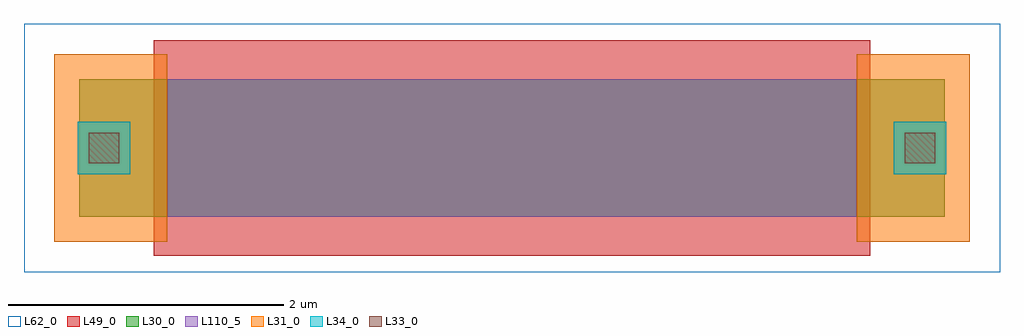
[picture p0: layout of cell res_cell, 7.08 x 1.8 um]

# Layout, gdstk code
import gdstk
lib = gdstk.Library(unit=1e-6, precision=5e-09)
def R(c, l, rs):  # rectangles x0, y0, x1, y1
    for r in rs: c.add(gdstk.rectangle(r[:2], r[2:], *l))
L30_0 = (30, 0)
L31_0 = (31, 0)
L33_0 = (33, 0)
L34_0 = (34, 0)
L49_0 = (49, 0)
L62_0 = (62, 0)
L110_5 = (110, 5)

res_cell = lib.new_cell('res_cell')
R(res_cell, L30_0, [(0.4,0.4,6.68,1.4)])
R(res_cell, L31_0, [(0.22,0.22,1.04,1.58), (6.04,0.22,6.86,1.58)])
R(res_cell, L33_0, [(0.47,0.79,0.69,1.01), (6.39,0.79,6.61,1.01)])
R(res_cell, L34_0, [(0.39,0.71,0.77,1.09), (6.31,0.71,6.69,1.09)])
R(res_cell, L49_0, [(0.94,0.12,6.14,1.68)])
R(res_cell, L62_0, [(0,0,7.08,1.8)])
R(res_cell, L110_5, [(1.04,0.4,6.04,1.4)])

lib.write_gds('res_cell.gds')
